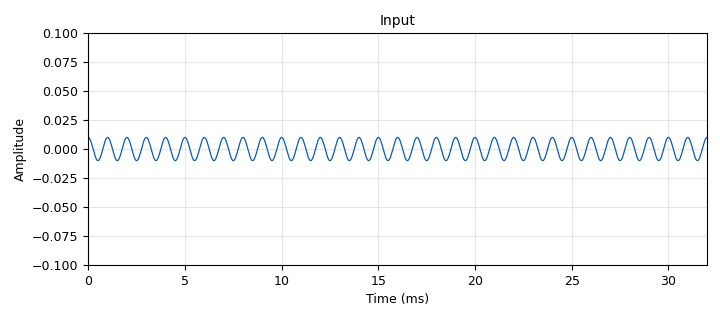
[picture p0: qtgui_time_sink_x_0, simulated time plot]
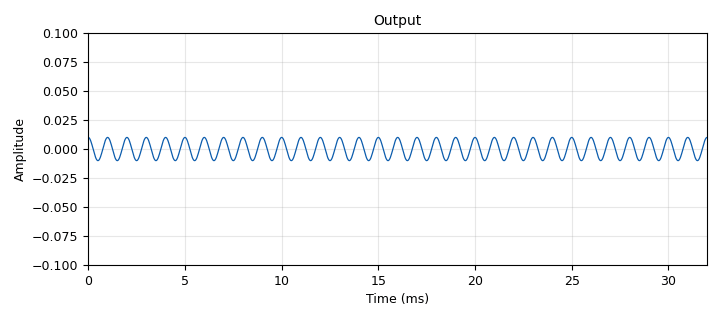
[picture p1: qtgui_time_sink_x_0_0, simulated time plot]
options:
  parameters:
    generate_options: qt_gui
    id: top_block
    output_language: python
  states: {}

blocks:
- name: freq
  id: variable_qtgui_entry
  parameters:
    type: real
    value: 1e3
  states: {}
- name: gain_val
  id: variable_qtgui_range
  parameters:
    start: '0.1'
    step: '0.1'
    stop: '10'
    value: '1'
  states: {}
- name: samp_rate
  id: variable
  parameters:
    value: '32000'
  states: {}
- name: analog_sig_source_x_0
  id: analog_sig_source_x
  parameters:
    amp: '0.01'
    freq: freq
    offset: '0'
    phase: '0'
    samp_rate: samp_rate
    type: float
    waveform: analog.GR_COS_WAVE
  states: {}
- name: audio_sink_0
  id: audio_sink
  parameters:
    samp_rate: samp_rate
  states: {}
- name: blocks_multiply_const_vxx_0
  id: blocks_multiply_const_vxx
  parameters:
    const: gain_val
    type: float
  states: {}
- name: qtgui_time_sink_x_0
  id: qtgui_time_sink_x
  parameters:
    name: '"Input"'
    size: '1024'
    srate: samp_rate
    type: float
    ymax: '0.1'
    ymin: '-0.1'
  states: {}
- name: qtgui_time_sink_x_0_0
  id: qtgui_time_sink_x
  parameters:
    name: '"Output"'
    size: '1024'
    srate: samp_rate
    type: float
    ymax: '0.1'
    ymin: '-0.1'
  states: {}

connections:
- [analog_sig_source_x_0, '0', blocks_multiply_const_vxx_0, '0']
- [analog_sig_source_x_0, '0', qtgui_time_sink_x_0, '0']
- [blocks_multiply_const_vxx_0, '0', audio_sink_0, '0']
- [blocks_multiply_const_vxx_0, '0', qtgui_time_sink_x_0_0, '0']

metadata:
  file_format: 1
  grc_version: 3.10.9.2
